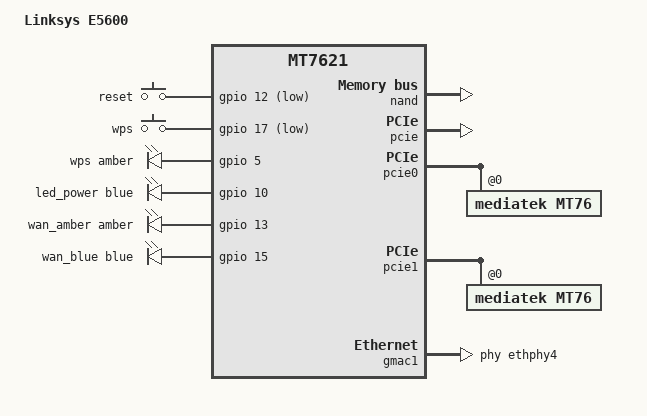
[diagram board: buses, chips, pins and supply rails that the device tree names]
// SPDX-License-Identifier: GPL-2.0-or-later OR MIT

#include "mt7621.dtsi"

#include <dt-bindings/gpio/gpio.h>
#include <dt-bindings/input/input.h>
#include <dt-bindings/leds/common.h>

/ {
	compatible = "linksys,e5600", "mediatek,mt7621-soc";
	model = "Linksys E5600";

	aliases {
		led-boot = &led_power;
		led-failsafe = &led_power;
		led-running = &led_power;
		led-upgrade = &led_power;
	};

	chosen {
		bootargs = "console=ttyS0,115200";
	};

	keys {
		compatible = "gpio-keys";

		reset {
			label = "reset";
			gpios = <&gpio 12 GPIO_ACTIVE_LOW>;
			linux,code = <KEY_RESTART>;
		};

		wps {
			label = "wps";
			gpios = <&gpio 17 GPIO_ACTIVE_LOW>;
			linux,code = <KEY_WPS_BUTTON>;
		};
	};

	leds {
		compatible = "gpio-leds";

		wps {
			function = LED_FUNCTION_WPS;
			color = <LED_COLOR_ID_AMBER>;
			gpios = <&gpio 5 GPIO_ACTIVE_HIGH>;
		};

		led_power: power {
			function = LED_FUNCTION_POWER;
			color = <LED_COLOR_ID_BLUE>;
			gpios = <&gpio 10 GPIO_ACTIVE_HIGH>;
			default-state = "on";
		};

		wan_amber {
			function = LED_FUNCTION_WAN;
			color = <LED_COLOR_ID_AMBER>;
			gpios = <&gpio 13 GPIO_ACTIVE_HIGH>;
		};

		wan_blue {
			function = LED_FUNCTION_WAN;
			color = <LED_COLOR_ID_BLUE>;
			gpios = <&gpio 15 GPIO_ACTIVE_HIGH>;
		};
	};
};

&nand {
	status = "okay";

	partitions {
		compatible = "fixed-partitions";
		#address-cells = <1>;
		#size-cells = <1>;

		partition@0 {
			label = "boot";
			reg = <0x0 0x80000>;
			read-only;
		};

		partition@80000 {
			label = "u_env";
			reg = <0x80000 0x40000>;
			read-only;
		};

		partition@c0000 {
			label = "factory";
			reg = <0xc0000 0x40000>;
			read-only;

			nvmem-layout {
				compatible = "fixed-layout";
				#address-cells = <1>;
				#size-cells = <1>;

				eeprom_factory_0: eeprom@0 {
					reg = <0x0 0x400>;
				};

				eeprom_factory_8000: eeprom@8000 {
					reg = <0x8000 0x4da8>;
				};
			};
		};

		partition@100000 {
			label = "s_env";
			reg = <0x100000 0x40000>;
		};

		partition@140000 {
			label = "devinfo";
			reg = <0x140000 0x40000>;
			read-only;
		};

		partition@180000 {
			label = "kernel";
			reg = <0x180000 0x400000>;
		};

		partition@580000 {
			label = "ubi";
			reg = <0x580000 0x1a00000>;
		};

		partition@1f80000 {
			label = "alt_firmware";
			reg = <0x1f80000 0x1e00000>;
		};

		partition@3d80000 {
			label = "gdata";
			reg = <0x3d80000 0x4200000>;
		};
	};
};

&state_default {
	gpio {
		groups = "uart2", "uart3", "jtag";
		function = "gpio";
	};
};

&pcie {
	status = "okay";
};

&pcie0 {
	mt76@0,0 {
		compatible = "mediatek,mt76";
		reg = <0x0000 0 0 0 0>;
		nvmem-cells = <&eeprom_factory_0>;
		nvmem-cell-names = "eeprom";
	};
};

&pcie1 {
	mt76@0,0 {
		compatible = "mediatek,mt76";
		reg = <0x0000 0 0 0 0>;
		nvmem-cells = <&eeprom_factory_8000>;
		nvmem-cell-names = "eeprom";
	};
};

&gmac1 {
	status = "okay";
	label = "wan";
	phy-handle = <&ethphy4>;
};

&ethphy4 {
	/delete-property/ interrupts;
};

&switch0 {
	ports {
		port@0 {
			status = "okay";
			label = "lan1";
		};

		port@1 {
			status = "okay";
			label = "lan2";
		};

		port@2 {
			status = "okay";
			label = "lan3";
		};

		port@3 {
			status = "okay";
			label = "lan4";
		};
	};
};

&xhci {
	status = "disabled";
};
